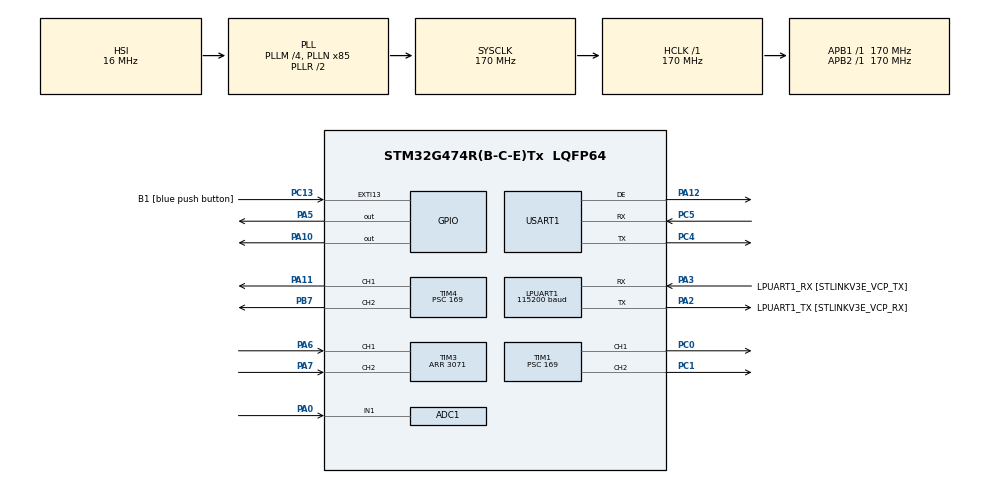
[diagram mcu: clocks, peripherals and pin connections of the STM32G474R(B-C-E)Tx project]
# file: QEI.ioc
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ADC1.Channel-0\#ChannelRegularConversion=ADC_CHANNEL_1
ADC1.ContinuousConvMode=ENABLE
ADC1.DMAContinuousRequests=ENABLE
ADC1.ExternalTrigConv=ADC_SOFTWARE_START
ADC1.NbrOfConversionFlag=1
ADC1.OffsetNumber-0\#ChannelRegularConversion=ADC_OFFSET_NONE
ADC1.Rank-0\#ChannelRegularConversion=1
ADC1.SamplingTime-0\#ChannelRegularConversion=ADC_SAMPLETIME_640CYCLES_5
ADC1.master=1
Dma.ADC1.1.Direction=DMA_PERIPH_TO_MEMORY
Dma.ADC1.1.EventEnable=DISABLE
Dma.ADC1.1.Instance=DMA1_Channel2
Dma.ADC1.1.MemDataAlignment=DMA_MDATAALIGN_HALFWORD
Dma.ADC1.1.MemInc=DMA_MINC_ENABLE
Dma.ADC1.1.Mode=DMA_CIRCULAR
Dma.ADC1.1.PeriphDataAlignment=DMA_PDATAALIGN_HALFWORD
Dma.ADC1.1.PeriphInc=DMA_PINC_DISABLE
Dma.ADC1.1.Polarity=HAL_DMAMUX_REQ_GEN_RISING
Dma.ADC1.1.Priority=DMA_PRIORITY_LOW
Dma.ADC1.1.RequestNumber=1
Dma.ADC1.1.SignalID=NONE
Dma.ADC1.1.SyncEnable=DISABLE
Dma.ADC1.1.SyncPolarity=HAL_DMAMUX_SYNC_NO_EVENT
Dma.ADC1.1.SyncRequestNumber=1
Dma.ADC1.1.SyncSignalID=NONE
Dma.Request0=USART1_RX
Dma.Request1=ADC1
Dma.USART1_RX.0.Direction=DMA_PERIPH_TO_MEMORY
Dma.USART1_RX.0.EventEnable=DISABLE
Dma.USART1_RX.0.Instance=DMA1_Channel1
Dma.USART1_RX.0.MemDataAlignment=DMA_MDATAALIGN_BYTE
Dma.USART1_RX.0.MemInc=DMA_MINC_ENABLE
Dma.USART1_RX.0.Mode=DMA_CIRCULAR
Dma.USART1_RX.0.PeriphDataAlignment=DMA_PDATAALIGN_BYTE
Dma.USART1_RX.0.PeriphInc=DMA_PINC_DISABLE
Dma.USART1_RX.0.Polarity=HAL_DMAMUX_REQ_GEN_RISING
Dma.USART1_RX.0.Priority=DMA_PRIORITY_LOW
Dma.USART1_RX.0.RequestNumber=1
Dma.USART1_RX.0.SignalID=NONE
Dma.USART1_RX.0.SyncEnable=DISABLE
Dma.USART1_RX.0.SyncPolarity=HAL_DMAMUX_SYNC_NO_EVENT
Dma.USART1_RX.0.SyncRequestNumber=1
Dma.USART1_RX.0.SyncSignalID=NONE
LPUART1.BaudRate=115200
LPUART1.WordLength=UART_WORDLENGTH_8B
Mcu.Family=STM32G4
Mcu.Name=STM32G474R(B-C-E)Tx
Mcu.Package=LQFP64
NVIC.DMA1_Channel1_IRQn=true\:0\:0\:false\:false\:true\:false\:true\:true
NVIC.DMA1_Channel2_IRQn=true\:0\:0\:false\:false\:true\:false\:true\:true
NVIC.EXTI15_10_IRQn=true\:0\:0\:false\:false\:true\:true\:true\:true
NVIC.PriorityGroup=NVIC_PRIORITYGROUP_4
NVIC.TIM2_IRQn=true\:0\:0\:false\:false\:true\:true\:true\:true
NVIC.USART1_IRQn=true\:0\:0\:false\:false\:true\:true\:true\:true
PA0.Mode=IN1-Single-Ended
PA0.Signal=ADC1_IN1
PA10.Signal=GPIO_Output
PA11.Signal=S_TIM4_CH1
PA12.Mode=Hardware Flow Control (RS485)
PA12.Signal=USART1_DE
PA13.GPIO_Label=T_SWDIO
PA13.Mode=Serial_Wire
PA13.Signal=SYS_JTMS-SWDIO
PA14.GPIO_Label=T_SWCLK
PA14.Mode=Serial_Wire
PA14.Signal=SYS_JTCK-SWCLK
PA2.GPIO_Label=LPUART1_TX [STLINKV3E_VCP_RX]
PA2.Mode=Asynchronous
PA2.Signal=LPUART1_TX
PA3.GPIO_Label=LPUART1_RX [STLINKV3E_VCP_TX]
PA3.Mode=Asynchronous
PA3.Signal=LPUART1_RX
PA5.Signal=GPIO_Output
PA6.Signal=S_TIM3_CH1
PA7.Signal=S_TIM3_CH2
PB3.GPIO_Label=T_SWO
PB3.Signal=SYS_JTDO-SWO
PB7.Signal=S_TIM4_CH2
PC0.Signal=S_TIM1_CH1
PC1.Signal=S_TIM1_CH2
PC13.GPIO_Label=B1 [blue push button]
PC13.Signal=GPXTI13
PC14-OSC32_IN.Mode=LSE-External-Oscillator
PC14-OSC32_IN.Signal=RCC_OSC32_IN
PC15-OSC32_OUT.Mode=LSE-External-Oscillator
PC15-OSC32_OUT.Signal=RCC_OSC32_OUT
PC4.Mode=Asynchronous
PC4.Signal=USART1_TX
PC5.Mode=Asynchronous
PC5.Signal=USART1_RX
PF0-OSC_IN.Mode=HSE-External-Oscillator
PF0-OSC_IN.Signal=RCC_OSC_IN
PF1-OSC_OUT.Mode=HSE-External-Oscillator
PF1-OSC_OUT.Signal=RCC_OSC_OUT
ProjectManager.HeapSize=0x200
ProjectManager.StackSize=0x400
ProjectManager.TargetToolchain=STM32CubeIDE
RCC.ADC12Freq_Value=170000000
RCC.ADC345Freq_Value=170000000
RCC.AHBFreq_Value=170000000
RCC.APB1Freq_Value=170000000
RCC.APB1TimFreq_Value=170000000
RCC.APB2Freq_Value=170000000
RCC.APB2TimFreq_Value=170000000
RCC.CortexFreq_Value=170000000
RCC.EXTERNAL_CLOCK_VALUE=12288000
RCC.HCLKFreq_Value=170000000
RCC.HSE_VALUE=24000000
RCC.HSI48_VALUE=48000000
RCC.HSI_VALUE=16000000
RCC.PLLM=RCC_PLLM_DIV4
RCC.PLLN=85
RCC.RTCClockSelection=RCC_RTCCLKSOURCE_LSE
RCC.SYSCLKFreq_VALUE=170000000
RCC.SYSCLKSource=RCC_SYSCLKSOURCE_PLLCLK
RCC.USBFreq_Value=170000000
RCC.VCOOutputFreq_Value=340000000
SH.S_TIM1_CH1.0=TIM1_CH1,PWM Generation1 CH1
SH.S_TIM1_CH2.0=TIM1_CH2,PWM Generation2 CH2
SH.S_TIM3_CH1.0=TIM3_CH1,Encoder_Interface
SH.S_TIM3_CH2.0=TIM3_CH2,Encoder_Interface
SH.S_TIM4_CH1.0=TIM4_CH1,PWM Generation1 CH1
SH.S_TIM4_CH2.0=TIM4_CH2,PWM Generation2 CH2
TIM1.Channel-PWM\ Generation1\ CH1=TIM_CHANNEL_1
TIM1.Channel-PWM\ Generation2\ CH2=TIM_CHANNEL_2
TIM1.PeriodNoDither=499
TIM1.Prescaler=169
TIM1.PulseNoDither_2=20000
TIM2.PeriodNoDither=4294967295
TIM2.Prescaler=169
TIM2.TIM_MasterOutputTrigger=TIM_TRGO_RESET
TIM3.EncoderMode=TIM_ENCODERMODE_TI12
TIM3.PeriodNoDither=3071
TIM4.Channel-PWM\ Generation1\ CH1=TIM_CHANNEL_1
TIM4.Channel-PWM\ Generation2\ CH2=TIM_CHANNEL_2
TIM4.PeriodNoDither=499
TIM4.Prescaler=169
TIM4.PulseNoDither_2=20000
USART1.Parity=PARITY_ODD
USART1.VirtualMode-Asynchronous=VM_ASYNC
USART1.VirtualMode-Hardware\ Flow\ Control\ (RS485)=VM_ASYNC
USART1.WordLength=WORDLENGTH_9B
VP_SYS_VS_DBSignals.Mode=DisableDeadBatterySignals
VP_TIM1_VS_ClockSourceINT.Mode=Internal
VP_TIM2_VS_ClockSourceINT.Mode=Internal
VP_TIM4_VS_ClockSourceINT.Mode=Internal
board=NUCLEO-G474RE

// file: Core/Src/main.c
/* USER CODE BEGIN Header */
/**
  ******************************************************************************
  * @file           : main.c
  * @brief          : Main program body
  ******************************************************************************
  * @attention
  *
  * Copyright (c) 2024 STMicroelectronics.
  * All rights reserved.
  *
  * This software is licensed under terms that can be found in the LICENSE file
  * in the root directory of this software component.
  * If no LICENSE file comes with this software, it is provided AS-IS.
  *
  ******************************************************************************
  */
/* USER CODE END Header */
#include "main.h"

/* USER CODE BEGIN Includes */
#include "math.h"
#include "stdio.h"
#include "string.h"

//#include "QEI.h"

/* USER CODE END Includes */

ADC_HandleTypeDef hadc1;
DMA_HandleTypeDef hdma_adc1;

UART_HandleTypeDef hlpuart1;
UART_HandleTypeDef huart1;
DMA_HandleTypeDef hdma_usart1_rx;

TIM_HandleTypeDef htim1;
TIM_HandleTypeDef htim2;
TIM_HandleTypeDef htim3;
TIM_HandleTypeDef htim4;

/* USER CODE BEGIN PV */

uint32_t QEIReadRaw;
uint16_t ADC[100] = {0};

//QEI encoder;

int sumA = 0;
int avgA = 0;

int Trim = 0;

int InA = 0;
int InB = 0;

int16_t period = 500;
int16_t duty = 0;
int16_t x = 0;

float deg =0;
float rad =0;

int error = 0;
float sum_e = 0;

float Kp = 0.12;
float Ki = 0;
float Kd = 0;

float error_p = 0;
float u = 0;

/*
typedef struct
{
// for record New / Old value to calculate dx / dt
	uint32_t Position[2];
	uint64_t TimeStamp[2];
	float QEIPostion_1turn;
	float QEIAngularVelocity;

	float pulsepersec;
    float rpm;
	float radpersec;
	float pulse;
	float rev;
	float rad;
}

QEI_StructureTypeDef;
QEI_StructureTypeDef QEIdata = {0};
uint64_t _micros = 0;

enum
{
NEW,OLD
};

*/

/* USER CODE END PV */

void SystemClock_Config(void);
static void MX_GPIO_Init(void);
static void MX_DMA_Init(void);
static void MX_LPUART1_UART_Init(void);
static void MX_TIM3_Init(void);
static void MX_TIM2_Init(void);
static void MX_TIM4_Init(void);
static void MX_TIM1_Init(void);
static void MX_USART1_UART_Init(void);
static void MX_ADC1_Init(void);
/* USER CODE BEGIN PFP */

void motor();
void average();
void PID();
void ER();
void PID2();

/*
uint64_t micros();
void QEIEncoderPosVel_Update();

*/

/* USER CODE END PFP */

int main(void)
{

  /* MCU Configuration--------------------------------------------------------*/

  /* Reset of all peripherals, Initializes the Flash interface and the Systick. */
  HAL_Init();

  /* Configure the system clock */
  SystemClock_Config();

  /* Initialize all configured peripherals */
  MX_GPIO_Init();
  MX_DMA_Init();
  MX_LPUART1_UART_Init();
  MX_TIM3_Init();
  MX_TIM2_Init();
  MX_TIM4_Init();
  MX_TIM1_Init();
  MX_USART1_UART_Init();
  MX_ADC1_Init();
  /* USER CODE BEGIN 2 */

  //QEI_init(&encoder, &htim3, 3072, 2000);
  //HAL_TIM_Encoder_Start(htim3,TIM_CHANNEL_ALL);

  HAL_TIM_Encoder_Start(&htim3,TIM_CHANNEL_ALL);

  //HAL_TIM_Base_Start_IT(&htim5);

  HAL_TIM_Base_Start_IT(&htim2);

  HAL_TIM_Base_Start(&htim4);
  HAL_TIM_PWM_Start(&htim4,TIM_CHANNEL_1);
  HAL_TIM_PWM_Start(&htim4,TIM_CHANNEL_2);

  HAL_TIM_Base_Start(&htim1);
  HAL_TIM_PWM_Start(&htim1,TIM_CHANNEL_1);
  HAL_TIM_PWM_Start(&htim1,TIM_CHANNEL_2);

  //HAL_ADCEx_Calibration_Start(&hadc1, ADC_SINGLE_ENDED);
  HAL_ADC_Start_DMA(&hadc1,ADC,100);
  HAL_TIM_Base_Start(&htim3);

  /* USER CODE END 2 */

  /* Infinite loop */
  while (1)
  {

    /* USER CODE BEGIN 3 */

	  //QEI_compute_data(&encoder);

/*
	  static uint64_t timestamp =0;
	  int64_t currentTime = micros();
	  if(currentTime > timestamp)
	  {
		  timestamp =currentTime + 100000;//us
		  QEIEncoderPosVel_Update();
		  motor();
	  }
*/

	  QEIReadRaw = __HAL_TIM_GET_COUNTER(&htim3);
	  /*
	  deg = (QEIReadRaw/3072.0)*360;
	  rad = (deg*3.14)/180.0;
	   */
	  Trim = (avgA*3072)/4096;

	  average();
	  motor();
	  PID();

  }
  /* USER CODE END 3 */
}

void SystemClock_Config(void)
{
  RCC_OscInitTypeDef RCC_OscInitStruct = {0};
  RCC_ClkInitTypeDef RCC_ClkInitStruct = {0};

  /** Configure the main internal regulator output voltage
  */
  HAL_PWREx_ControlVoltageScaling(PWR_REGULATOR_VOLTAGE_SCALE1_BOOST);

  /** Initializes the RCC Oscillators according to the specified parameters
  * in the RCC_OscInitTypeDef structure.
  */
  RCC_OscInitStruct.OscillatorType = RCC_OSCILLATORTYPE_HSI;
  RCC_OscInitStruct.HSIState = RCC_HSI_ON;
  RCC_OscInitStruct.HSICalibrationValue = RCC_HSICALIBRATION_DEFAULT;
  RCC_OscInitStruct.PLL.PLLState = RCC_PLL_ON;
  RCC_OscInitStruct.PLL.PLLSource = RCC_PLLSOURCE_HSI;
  RCC_OscInitStruct.PLL.PLLM = RCC_PLLM_DIV4;
  RCC_OscInitStruct.PLL.PLLN = 85;
  RCC_OscInitStruct.PLL.PLLP = RCC_PLLP_DIV2;
  RCC_OscInitStruct.PLL.PLLQ = RCC_PLLQ_DIV2;
  RCC_OscInitStruct.PLL.PLLR = RCC_PLLR_DIV2;
  if (HAL_RCC_OscConfig(&RCC_OscInitStruct) != HAL_OK)
  {
    Error_Handler();
  }

  /** Initializes the CPU, AHB and APB buses clocks
  */
  RCC_ClkInitStruct.ClockType = RCC_CLOCKTYPE_HCLK|RCC_CLOCKTYPE_SYSCLK
                              |RCC_CLOCKTYPE_PCLK1|RCC_CLOCKTYPE_PCLK2;
  RCC_ClkInitStruct.SYSCLKSource = RCC_SYSCLKSOURCE_PLLCLK;
  RCC_ClkInitStruct.AHBCLKDivider = RCC_SYSCLK_DIV1;
  RCC_ClkInitStruct.APB1CLKDivider = RCC_HCLK_DIV1;
  RCC_ClkInitStruct.APB2CLKDivider = RCC_HCLK_DIV1;

  if (HAL_RCC_ClockConfig(&RCC_ClkInitStruct, FLASH_LATENCY_4) != HAL_OK)
  {
    Error_Handler();
  }
}

static void MX_ADC1_Init(void)
{

  ADC_MultiModeTypeDef multimode = {0};
  ADC_ChannelConfTypeDef sConfig = {0};

  /** Common config
  */
  hadc1.Instance = ADC1;
  hadc1.Init.ClockPrescaler = ADC_CLOCK_SYNC_PCLK_DIV4;
  hadc1.Init.Resolution = ADC_RESOLUTION_12B;
  hadc1.Init.DataAlign = ADC_DATAALIGN_RIGHT;
  hadc1.Init.GainCompensation = 0;
  hadc1.Init.ScanConvMode = ADC_SCAN_DISABLE;
  hadc1.Init.EOCSelection = ADC_EOC_SINGLE_CONV;
  hadc1.Init.LowPowerAutoWait = DISABLE;
  hadc1.Init.ContinuousConvMode = ENABLE;
  hadc1.Init.NbrOfConversion = 1;
  hadc1.Init.DiscontinuousConvMode = DISABLE;
  hadc1.Init.ExternalTrigConv = ADC_SOFTWARE_START;
  hadc1.Init.ExternalTrigConvEdge = ADC_EXTERNALTRIGCONVEDGE_NONE;
  hadc1.Init.DMAContinuousRequests = ENABLE;
  hadc1.Init.Overrun = ADC_OVR_DATA_PRESERVED;
  hadc1.Init.OversamplingMode = DISABLE;
  if (HAL_ADC_Init(&hadc1) != HAL_OK)
  {
    Error_Handler();
  }

  /** Configure the ADC multi-mode
  */
  multimode.Mode = ADC_MODE_INDEPENDENT;
  if (HAL_ADCEx_MultiModeConfigChannel(&hadc1, &multimode) != HAL_OK)
  {
    Error_Handler();
  }

  /** Configure Regular Channel
  */
  sConfig.Channel = ADC_CHANNEL_1;
  sConfig.Rank = ADC_REGULAR_RANK_1;
  sConfig.SamplingTime = ADC_SAMPLETIME_640CYCLES_5;
  sConfig.SingleDiff = ADC_SINGLE_ENDED;
  sConfig.OffsetNumber = ADC_OFFSET_NONE;
  sConfig.Offset = 0;
  if (HAL_ADC_ConfigChannel(&hadc1, &sConfig) != HAL_OK)
  {
    Error_Handler();
  }

}

static void MX_LPUART1_UART_Init(void)
{

  hlpuart1.Instance = LPUART1;
  hlpuart1.Init.BaudRate = 115200;
  hlpuart1.Init.WordLength = UART_WORDLENGTH_8B;
  hlpuart1.Init.StopBits = UART_STOPBITS_1;
  hlpuart1.Init.Parity = UART_PARITY_NONE;
  hlpuart1.Init.Mode = UART_MODE_TX_RX;
  hlpuart1.Init.HwFlowCtl = UART_HWCONTROL_NONE;
  hlpuart1.Init.OneBitSampling = UART_ONE_BIT_SAMPLE_DISABLE;
  hlpuart1.Init.ClockPrescaler = UART_PRESCALER_DIV1;
  hlpuart1.AdvancedInit.AdvFeatureInit = UART_ADVFEATURE_NO_INIT;
  if (HAL_UART_Init(&hlpuart1) != HAL_OK)
  {
    Error_Handler();
  }
  if (HAL_UARTEx_SetTxFifoThreshold(&hlpuart1, UART_TXFIFO_THRESHOLD_1_8) != HAL_OK)
  {
    Error_Handler();
  }
  if (HAL_UARTEx_SetRxFifoThreshold(&hlpuart1, UART_RXFIFO_THRESHOLD_1_8) != HAL_OK)
  {
    Error_Handler();
  }
  if (HAL_UARTEx_DisableFifoMode(&hlpuart1) != HAL_OK)
  {
    Error_Handler();
  }

}

static void MX_USART1_UART_Init(void)
{

  huart1.Instance = USART1;
  huart1.Init.BaudRate = 115200;
  huart1.Init.WordLength = UART_WORDLENGTH_9B;
  huart1.Init.StopBits = UART_STOPBITS_1;
  huart1.Init.Parity = UART_PARITY_ODD;
  huart1.Init.Mode = UART_MODE_TX_RX;
  huart1.Init.HwFlowCtl = UART_HWCONTROL_NONE;
  huart1.Init.OverSampling = UART_OVERSAMPLING_16;
  huart1.Init.OneBitSampling = UART_ONE_BIT_SAMPLE_DISABLE;
  huart1.Init.ClockPrescaler = UART_PRESCALER_DIV1;
  huart1.AdvancedInit.AdvFeatureInit = UART_ADVFEATURE_NO_INIT;
  if (HAL_RS485Ex_Init(&huart1, UART_DE_POLARITY_HIGH, 0, 0) != HAL_OK)
  {
    Error_Handler();
  }
  if (HAL_UARTEx_SetTxFifoThreshold(&huart1, UART_TXFIFO_THRESHOLD_1_8) != HAL_OK)
  {
    Error_Handler();
  }
  if (HAL_UARTEx_SetRxFifoThreshold(&huart1, UART_RXFIFO_THRESHOLD_1_8) != HAL_OK)
  {
    Error_Handler();
  }
  if (HAL_UARTEx_DisableFifoMode(&huart1) != HAL_OK)
  {
    Error_Handler();
  }

}

static void MX_TIM1_Init(void)
{

  TIM_ClockConfigTypeDef sClockSourceConfig = {0};
  TIM_MasterConfigTypeDef sMasterConfig = {0};
  TIM_OC_InitTypeDef sConfigOC = {0};
  TIM_BreakDeadTimeConfigTypeDef sBreakDeadTimeConfig = {0};

  htim1.Instance = TIM1;
  htim1.Init.Prescaler = 169;
  htim1.Init.CounterMode = TIM_COUNTERMODE_UP;
  htim1.Init.Period = 499;
  htim1.Init.ClockDivision = TIM_CLOCKDIVISION_DIV1;
  htim1.Init.RepetitionCounter = 0;
  htim1.Init.AutoReloadPreload = TIM_AUTORELOAD_PRELOAD_DISABLE;
  if (HAL_TIM_Base_Init(&htim1) != HAL_OK)
  {
    Error_Handler();
  }
  sClockSourceConfig.ClockSource = TIM_CLOCKSOURCE_INTERNAL;
  if (HAL_TIM_ConfigClockSource(&htim1, &sClockSourceConfig) != HAL_OK)
  {
    Error_Handler();
  }
  if (HAL_TIM_PWM_Init(&htim1) != HAL_OK)
  {
    Error_Handler();
  }
  sMasterConfig.MasterOutputTrigger = TIM_TRGO_RESET;
  sMasterConfig.MasterOutputTrigger2 = TIM_TRGO2_RESET;
  sMasterConfig.MasterSlaveMode = TIM_MASTERSLAVEMODE_DISABLE;
  if (HAL_TIMEx_MasterConfigSynchronization(&htim1, &sMasterConfig) != HAL_OK)
  {
    Error_Handler();
  }
  sConfigOC.OCMode = TIM_OCMODE_PWM1;
  sConfigOC.Pulse = 0;
  sConfigOC.OCPolarity = TIM_OCPOLARITY_HIGH;
  sConfigOC.OCNPolarity = TIM_OCNPOLARITY_HIGH;
  sConfigOC.OCFastMode = TIM_OCFAST_DISABLE;
  sConfigOC.OCIdleState = TIM_OCIDLESTATE_RESET;
  sConfigOC.OCNIdleState = TIM_OCNIDLESTATE_RESET;
  if (HAL_TIM_PWM_ConfigChannel(&htim1, &sConfigOC, TIM_CHANNEL_1) != HAL_OK)
  {
    Error_Handler();
  }
  sConfigOC.Pulse = 20000;
  if (HAL_TIM_PWM_ConfigChannel(&htim1, &sConfigOC, TIM_CHANNEL_2) != HAL_OK)
  {
    Error_Handler();
  }
  sBreakDeadTimeConfig.OffStateRunMode = TIM_OSSR_DISABLE;
  sBreakDeadTimeConfig.OffStateIDLEMode = TIM_OSSI_DISABLE;
  sBreakDeadTimeConfig.LockLevel = TIM_LOCKLEVEL_OFF;
  sBreakDeadTimeConfig.DeadTime = 0;
  sBreakDeadTimeConfig.BreakState = TIM_BREAK_DISABLE;
  sBreakDeadTimeConfig.BreakPolarity = TIM_BREAKPOLARITY_HIGH;
  sBreakDeadTimeConfig.BreakFilter = 0;
  sBreakDeadTimeConfig.BreakAFMode = TIM_BREAK_AFMODE_INPUT;
  sBreakDeadTimeConfig.Break2State = TIM_BREAK2_DISABLE;
  sBreakDeadTimeConfig.Break2Polarity = TIM_BREAK2POLARITY_HIGH;
  sBreakDeadTimeConfig.Break2Filter = 0;
  sBreakDeadTimeConfig.Break2AFMode = TIM_BREAK_AFMODE_INPUT;
  sBreakDeadTimeConfig.AutomaticOutput = TIM_AUTOMATICOUTPUT_DISABLE;
  if (HAL_TIMEx_ConfigBreakDeadTime(&htim1, &sBreakDeadTimeConfig) != HAL_OK)
  {
    Error_Handler();
  }
  HAL_TIM_MspPostInit(&htim1);

}

static void MX_TIM2_Init(void)
{

  TIM_ClockConfigTypeDef sClockSourceConfig = {0};
  TIM_MasterConfigTypeDef sMasterConfig = {0};

  htim2.Instance = TIM2;
  htim2.Init.Prescaler = 169;
  htim2.Init.CounterMode = TIM_COUNTERMODE_UP;
  htim2.Init.Period = 4.294967295E9;
  htim2.Init.ClockDivision = TIM_CLOCKDIVISION_DIV1;
  htim2.Init.AutoReloadPreload = TIM_AUTORELOAD_PRELOAD_DISABLE;
  if (HAL_TIM_Base_Init(&htim2) != HAL_OK)
  {
    Error_Handler();
  }
  sClockSourceConfig.ClockSource = TIM_CLOCKSOURCE_INTERNAL;
  if (HAL_TIM_ConfigClockSource(&htim2, &sClockSourceConfig) != HAL_OK)
  {
    Error_Handler();
  }
  sMasterConfig.MasterOutputTrigger = TIM_TRGO_RESET;
  sMasterConfig.MasterSlaveMode = TIM_MASTERSLAVEMODE_DISABLE;
  if (HAL_TIMEx_MasterConfigSynchronization(&htim2, &sMasterConfig) != HAL_OK)
  {
    Error_Handler();
  }

}

static void MX_TIM3_Init(void)
{

  TIM_Encoder_InitTypeDef sConfig = {0};
  TIM_MasterConfigTypeDef sMasterConfig = {0};

  htim3.Instance = TIM3;
  htim3.Init.Prescaler = 0;
  htim3.Init.CounterMode = TIM_COUNTERMODE_UP;
  htim3.Init.Period = 3071;
  htim3.Init.ClockDivision = TIM_CLOCKDIVISION_DIV1;
  htim3.Init.AutoReloadPreload = TIM_AUTORELOAD_PRELOAD_DISABLE;
  sConfig.EncoderMode = TIM_ENCODERMODE_TI12;
  sConfig.IC1Polarity = TIM_ICPOLARITY_RISING;
  sConfig.IC1Selection = TIM_ICSELECTION_DIRECTTI;
  sConfig.IC1Prescaler = TIM_ICPSC_DIV1;
  sConfig.IC1Filter = 0;
  sConfig.IC2Polarity = TIM_ICPOLARITY_RISING;
  sConfig.IC2Selection = TIM_ICSELECTION_DIRECTTI;
  sConfig.IC2Prescaler = TIM_ICPSC_DIV1;
  sConfig.IC2Filter = 0;
  if (HAL_TIM_Encoder_Init(&htim3, &sConfig) != HAL_OK)
  {
    Error_Handler();
  }
  sMasterConfig.MasterOutputTrigger = TIM_TRGO_RESET;
  sMasterConfig.MasterSlaveMode = TIM_MASTERSLAVEMODE_DISABLE;
  if (HAL_TIMEx_MasterConfigSynchronization(&htim3, &sMasterConfig) != HAL_OK)
  {
    Error_Handler();
  }

}

static void MX_TIM4_Init(void)
{

  TIM_ClockConfigTypeDef sClockSourceConfig = {0};
  TIM_MasterConfigTypeDef sMasterConfig = {0};
  TIM_OC_InitTypeDef sConfigOC = {0};

  htim4.Instance = TIM4;
  htim4.Init.Prescaler = 169;
  htim4.Init.CounterMode = TIM_COUNTERMODE_UP;
  htim4.Init.Period = 499;
  htim4.Init.ClockDivision = TIM_CLOCKDIVISION_DIV1;
  htim4.Init.AutoReloadPreload = TIM_AUTORELOAD_PRELOAD_DISABLE;
  if (HAL_TIM_Base_Init(&htim4) != HAL_OK)
  {
    Error_Handler();
  }
  sClockSourceConfig.ClockSource = TIM_CLOCKSOURCE_INTERNAL;
  if (HAL_TIM_ConfigClockSource(&htim4, &sClockSourceConfig) != HAL_OK)
  {
    Error_Handler();
  }
  if (HAL_TIM_PWM_Init(&htim4) != HAL_OK)
  {
    Error_Handler();
  }
  sMasterConfig.MasterOutputTrigger = TIM_TRGO_RESET;
  sMasterConfig.MasterSlaveMode = TIM_MASTERSLAVEMODE_DISABLE;
  if (HAL_TIMEx_MasterConfigSynchronization(&htim4, &sMasterConfig) != HAL_OK)
  {
    Error_Handler();
  }
  sConfigOC.OCMode = TIM_OCMODE_PWM1;
  sConfigOC.Pulse = 0;
  sConfigOC.OCPolarity = TIM_OCPOLARITY_HIGH;
  sConfigOC.OCFastMode = TIM_OCFAST_DISABLE;
  if (HAL_TIM_PWM_ConfigChannel(&htim4, &sConfigOC, TIM_CHANNEL_1) != HAL_OK)
  {
    Error_Handler();
  }
  sConfigOC.Pulse = 20000;
  if (HAL_TIM_PWM_ConfigChannel(&htim4, &sConfigOC, TIM_CHANNEL_2) != HAL_OK)
  {
    Error_Handler();
  }
  HAL_TIM_MspPostInit(&htim4);

}

static void MX_DMA_Init(void)
{

  /* DMA controller clock enable */
  __HAL_RCC_DMAMUX1_CLK_ENABLE();
  __HAL_RCC_DMA1_CLK_ENABLE();

  /* DMA interrupt init */
  /* DMA1_Channel1_IRQn interrupt configuration */
  HAL_NVIC_SetPriority(DMA1_Channel1_IRQn, 0, 0);
  HAL_NVIC_EnableIRQ(DMA1_Channel1_IRQn);
  /* DMA1_Channel2_IRQn interrupt configuration */
  HAL_NVIC_SetPriority(DMA1_Channel2_IRQn, 0, 0);
  HAL_NVIC_EnableIRQ(DMA1_Channel2_IRQn);

}

static void MX_GPIO_Init(void)
{
  GPIO_InitTypeDef GPIO_InitStruct = {0};

  /* GPIO Ports Clock Enable */
  __HAL_RCC_GPIOC_CLK_ENABLE();
  __HAL_RCC_GPIOF_CLK_ENABLE();
  __HAL_RCC_GPIOA_CLK_ENABLE();
  __HAL_RCC_GPIOB_CLK_ENABLE();

  /*Configure GPIO pin Output Level */
  HAL_GPIO_WritePin(GPIOA, GPIO_PIN_5|GPIO_PIN_10, GPIO_PIN_RESET);

  /*Configure GPIO pin : B1_Pin */
  GPIO_InitStruct.Pin = B1_Pin;
  GPIO_InitStruct.Mode = GPIO_MODE_IT_RISING;
  GPIO_InitStruct.Pull = GPIO_NOPULL;
  HAL_GPIO_Init(B1_GPIO_Port, &GPIO_InitStruct);

  /*Configure GPIO pins : PA5 PA10 */
  GPIO_InitStruct.Pin = GPIO_PIN_5|GPIO_PIN_10;
  GPIO_InitStruct.Mode = GPIO_MODE_OUTPUT_PP;
  GPIO_InitStruct.Pull = GPIO_NOPULL;
  GPIO_InitStruct.Speed = GPIO_SPEED_FREQ_LOW;
  HAL_GPIO_Init(GPIOA, &GPIO_InitStruct);

  /* EXTI interrupt init*/
  HAL_NVIC_SetPriority(EXTI15_10_IRQn, 0, 0);
  HAL_NVIC_EnableIRQ(EXTI15_10_IRQn);

}

/* USER CODE BEGIN 4 */

/*
void HAL_TIM_PeriodElapsedCallback(TIM_HandleTypeDef *htim)
{
	if (htim == &htim2)
	{
		average();
	}
}

*/

void motor()
{
	x = (period / 100) * duty;

	if (duty > 0)
	{
		InA = x;
		InB = 0;
	}

	else if (duty < 0)
	{
		InA = 0;
		InB = abs(x);
	}

	else if (duty == 0)
	{
		InA = 0;
		InB = 0;
	}

	  //__HAL_TIM_SET_COMPARE(&htim4, TIM_CHANNEL_2, InA);
	  __HAL_TIM_SET_COMPARE(&htim1, TIM_CHANNEL_1, InA);
	  __HAL_TIM_SET_COMPARE(&htim1, TIM_CHANNEL_2, InB);
}

void average()
{
	sumA = 0;
	for (int i = 0; i < 100; i++)
	{
		sumA += ADC[i];
	}
	avgA = sumA / 100;

}

void PID()
{
	error = Trim - QEIReadRaw;
	sum_e = sum_e + error;
	u = (Kp*error)+(Ki*sum_e)+(Kd*(error-error_p));
	duty = u;
	error_p = error;
}

/*

//MicroSecondTimer Implement
void HAL_TIM_PeriodElapsedCallback(TIM_HandleTypeDef *htim)
{
	if(htim == &htim2)
	{
		_micros += UINT32_MAX;
	}
}

uint64_t micros()
{
	return __HAL_TIM_GET_COUNTER(&htim2)+_micros;
}

void QEIEncoderPosVel_Update()
{
	//collect data
	QEIdata.TimeStamp[NEW] = micros();
	QEIdata.Position[NEW] = __HAL_TIM_GET_COUNTER(&htim3);
	//Postion 1 turn calculation
	QEIdata.QEIPostion_1turn = QEIdata.Position[NEW] % 3072;
	//calculate dx
	int32_t diffPosition = QEIdata.Position[NEW] - QEIdata.Position[OLD];
	//Handle Warp around
	if(diffPosition > 32256)
		diffPosition -=64512;
	if(diffPosition < -32256)
		diffPosition +=64512;
	//calculate dt
	float diffTime = (QEIdata.TimeStamp[NEW]-QEIdata.TimeStamp[OLD]) * 0.000001;
	//calculate anglar velocity
	QEIdata.QEIAngularVelocity = diffPosition / diffTime;

	QEIdata.pulsepersec = QEIdata.QEIAngularVelocity;
	QEIdata.rpm = (QEIdata.QEIAngularVelocity * 60) / 3072;
	QEIdata.radpersec = (QEIdata.QEIAngularVelocity * 2 * 3.14) / 3072;

	QEIdata.pulse += QEIdata.pulsepersec*diffTime;
	QEIdata.rev += (QEIdata.rpm/60)*diffTime;
	QEIdata.rad += QEIdata.radpersec*diffTime;

	//store value for next loop
	QEIdata.Position[OLD] = QEIdata.Position[NEW];
	QEIdata.TimeStamp[OLD]=QEIdata.TimeStamp[NEW];
}
*/

/* USER CODE END 4 */

void Error_Handler(void)
{
  __disable_irq();
  while (1)
  {
  }
}
